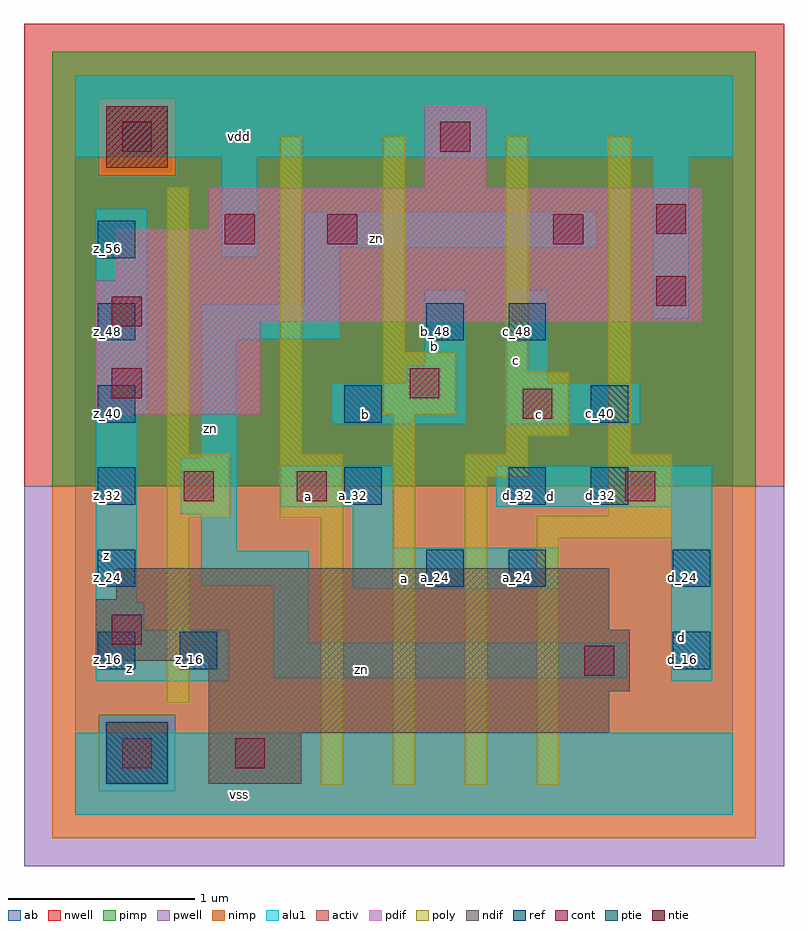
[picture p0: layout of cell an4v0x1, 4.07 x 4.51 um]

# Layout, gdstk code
import gdstk
lib = gdstk.Library(unit=1e-6, precision=2.5e-09)
def R(c, l, rs):  # rectangles x0, y0, x1, y1
    for r in rs: c.add(gdstk.rectangle(r[:2], r[2:], *l))
def A(c, l, x, y, w, h, nx, ny, dx, dy):  # array of equal rectangles
    R(c, l, [(x+i*dx, y+j*dy, x+i*dx+w, y+j*dy+h) for i in range(nx) for j in range(ny)])
ndif = (3, 0)
pdif = (4, 0)
ntie = (5, 0)
ptie = (6, 0)
ref = (24, 0)
cont = (25, 0)
pwell = (41, 0)
nwell = (42, 0)
activ = (43, 0)
pimp = (44, 0)
nimp = (45, 0)
poly = (46, 0)
alu1 = (49, 0)
ab = (63, 0)

an4v0x1 = lib.new_cell('an4v0x1')
R(an4v0x1, ndif, [(0.715,0.165,1.21,0.44), (0.715,0.44,2.86,0.66), (0.715,0.66,2.97,0.825), (0.11,0.825,2.97,0.99), (0.11,0.99,2.86,1.155), (0.22,1.155,2.86,1.32)])
R(an4v0x1, pdif, [(0.11,2.145,0.99,2.64), (0.11,2.64,3.355,2.86), (0.22,2.86,3.355,3.135), (0.715,3.135,3.355,3.355), (1.87,3.355,2.2,3.795)])
R(an4v0x1, ntie, [(0.165,3.465,0.495,3.795)])
R(an4v0x1, ptie, [(0.165,0.165,0.495,0.495)])
A(an4v0x1, ref, 0.12, 0.78, 0.2, 0.2, 1, 3, 0, 0.44)
A(an4v0x1, ref, 0.12, 2.1, 0.2, 0.2, 3, 1, 1.32, 0)
R(an4v0x1, ref, [(0.56,0.78,0.76,0.98), (3.2,0.78,3.4,0.98), (1.88,1.22,2.08,1.42), (2.32,1.22,2.52,1.42), (3.2,1.22,3.4,1.42), (1.44,1.66,1.64,1.86), (2.32,1.66,2.52,1.86), (2.76,1.66,2.96,1.86), (0.12,2.54,0.32,2.74), (1.88,2.54,2.08,2.74), (2.32,2.54,2.52,2.74), (0.12,2.98,0.32,3.18)])
R(an4v0x1, cont, [(0.25,0.25,0.41,0.41), (0.855,0.25,1.015,0.41), (2.725,0.745,2.885,0.905), (0.195,0.91,0.355,1.07), (0.58,1.68,0.74,1.84), (1.185,1.68,1.345,1.84), (2.945,1.68,3.105,1.84), (2.395,2.12,2.555,2.28), (0.195,2.23,0.355,2.39), (1.79,2.23,1.95,2.39), (0.195,2.615,0.355,2.775), (3.11,2.725,3.27,2.885), (0.8,3.055,0.96,3.215), (1.35,3.055,1.51,3.215), (2.56,3.055,2.72,3.215), (3.11,3.11,3.27,3.27), (0.25,3.55,0.41,3.71), (1.955,3.55,2.115,3.71)])
R(an4v0x1, pwell, [(-0.275,-0.275,3.795,1.76)])
R(an4v0x1, nwell, [(-0.275,1.76,3.795,4.235)])
R(an4v0x1, activ, [(0.165,0.165,0.495,0.495), (0.715,0.165,1.21,0.44), (0.715,0.44,2.86,0.66), (0.715,0.66,2.97,0.825), (0.11,0.825,2.97,0.99), (0.11,0.99,2.86,1.155), (0.22,1.155,2.86,1.32), (0.11,2.145,0.99,2.64), (0.11,2.64,3.355,2.86), (0.22,2.86,3.355,3.135), (0.715,3.135,3.355,3.355), (1.87,3.355,2.2,3.795), (0.165,3.465,0.495,3.795)])
R(an4v0x1, pimp, [(0.125,0.125,0.535,0.535), (-0.125,1.76,3.645,3.425), (-0.125,3.425,0.125,3.835), (0.535,3.425,3.645,3.835), (-0.125,3.835,3.645,4.085)])
R(an4v0x1, nimp, [(-0.125,-0.125,3.645,0.125), (-0.125,0.125,0.125,0.535), (0.535,0.125,3.645,0.535), (-0.125,0.535,3.645,1.76), (0.125,3.425,0.535,3.835)])
R(an4v0x1, poly, [(1.315,0.16,1.435,1.59), (1.7,0.16,1.82,2.14), (2.085,0.16,2.205,1.81), (2.47,0.16,2.59,1.48), (0.49,0.6,0.61,1.59), (2.47,1.48,3.195,1.6), (0.49,1.59,0.83,1.93), (1.095,1.59,1.435,1.93), (2.855,1.6,3.195,1.93), (2.085,1.81,2.425,1.93), (0.49,1.93,0.61,3.36), (1.095,1.93,1.215,3.635), (2.305,1.93,2.425,2.03), (2.855,1.93,2.975,3.635), (2.305,2.03,2.645,2.37), (1.645,2.14,2.04,2.48), (2.305,2.37,2.425,3.635), (1.645,2.48,1.765,3.635)])
R(an4v0x1, alu1, [(0,0,3.52,0.44), (0.11,0.715,0.825,0.99), (3.19,0.715,3.41,1.65), (1.06,0.73,2.955,0.92), (1.06,0.92,1.25,1.225), (0.11,0.99,0.37,1.14), (0.11,1.14,0.33,2.145), (1.485,1.21,2.585,1.43), (0.675,1.225,1.25,1.415), (0.675,1.415,0.865,1.61), (1.485,1.43,1.705,1.65), (0.565,1.61,0.865,1.91), (1.1,1.65,1.705,1.87), (2.255,1.65,3.41,1.87), (0.675,1.91,0.865,2.545), (1.375,2.09,2.09,2.31), (2.31,2.09,3.025,2.31), (0.11,2.145,0.385,3.245), (1.775,2.31,2.09,2.405), (2.31,2.31,2.53,2.805), (1.87,2.405,2.09,2.805), (0.675,2.545,1.415,2.735), (3.095,2.655,3.285,3.52), (1.225,2.735,1.415,3.04), (0.785,2.985,0.975,3.52), (1.225,3.04,2.79,3.23), (0,3.52,3.52,3.96)])
R(an4v0x1, ab, [(0,0,3.52,3.96)])
an4v0x1.add(gdstk.Label('vss', (0.88,0.11), layer=49, texttype=0))
an4v0x1.add(gdstk.Label('d', (3.245,0.9475), layer=49, texttype=0))
an4v0x1.add(gdstk.Label('zn', (1.5325,0.7775), layer=49, texttype=0))
an4v0x1.add(gdstk.Label('a', (1.76,1.265), layer=49, texttype=0))
an4v0x1.add(gdstk.Label('z', (0.2875,0.7825), layer=49, texttype=0))
an4v0x1.add(gdstk.Label('d', (2.5425,1.705), layer=49, texttype=0))
an4v0x1.add(gdstk.Label('a', (1.25,1.705), layer=49, texttype=0))
an4v0x1.add(gdstk.Label('c', (2.4875,2.145), layer=49, texttype=0))
an4v0x1.add(gdstk.Label('c', (2.365,2.4325), layer=49, texttype=0))
an4v0x1.add(gdstk.Label('b', (1.5525,2.145), layer=49, texttype=0))
an4v0x1.add(gdstk.Label('b', (1.925,2.505), layer=49, texttype=0))
an4v0x1.add(gdstk.Label('zn', (0.7225,2.0675), layer=49, texttype=0))
an4v0x1.add(gdstk.Label('z', (0.165,1.39), layer=49, texttype=0))
an4v0x1.add(gdstk.Label('zn', (1.615,3.0875), layer=49, texttype=0))
an4v0x1.add(gdstk.Label('vdd', (0.88,3.63), layer=49, texttype=0))
an4v0x1.add(gdstk.Label('z_16', (0.61,0.83), layer=24, texttype=0))
an4v0x1.add(gdstk.Label('a_32', (1.49,1.71), layer=24, texttype=0))
an4v0x1.add(gdstk.Label('b_40', (1.49,2.15), layer=24, texttype=0))
an4v0x1.add(gdstk.Label('a_24', (1.93,1.27), layer=24, texttype=0))
an4v0x1.add(gdstk.Label('b_48', (1.93,2.59), layer=24, texttype=0))
an4v0x1.add(gdstk.Label('z_16', (0.17,0.83), layer=24, texttype=0))
an4v0x1.add(gdstk.Label('z_24', (0.17,1.27), layer=24, texttype=0))
an4v0x1.add(gdstk.Label('z_32', (0.17,1.71), layer=24, texttype=0))
an4v0x1.add(gdstk.Label('z_40', (0.17,2.15), layer=24, texttype=0))
an4v0x1.add(gdstk.Label('z_48', (0.17,2.59), layer=24, texttype=0))
an4v0x1.add(gdstk.Label('z_56', (0.17,3.03), layer=24, texttype=0))
an4v0x1.add(gdstk.Label('a_24', (2.37,1.27), layer=24, texttype=0))
an4v0x1.add(gdstk.Label('d_32', (2.37,1.71), layer=24, texttype=0))
an4v0x1.add(gdstk.Label('c_48', (2.37,2.59), layer=24, texttype=0))
an4v0x1.add(gdstk.Label('d_32', (2.81,1.71), layer=24, texttype=0))
an4v0x1.add(gdstk.Label('c_40', (2.81,2.15), layer=24, texttype=0))
an4v0x1.add(gdstk.Label('d_16', (3.25,0.83), layer=24, texttype=0))
an4v0x1.add(gdstk.Label('d_24', (3.25,1.27), layer=24, texttype=0))

lib.write_gds('an4v0x1.gds')
